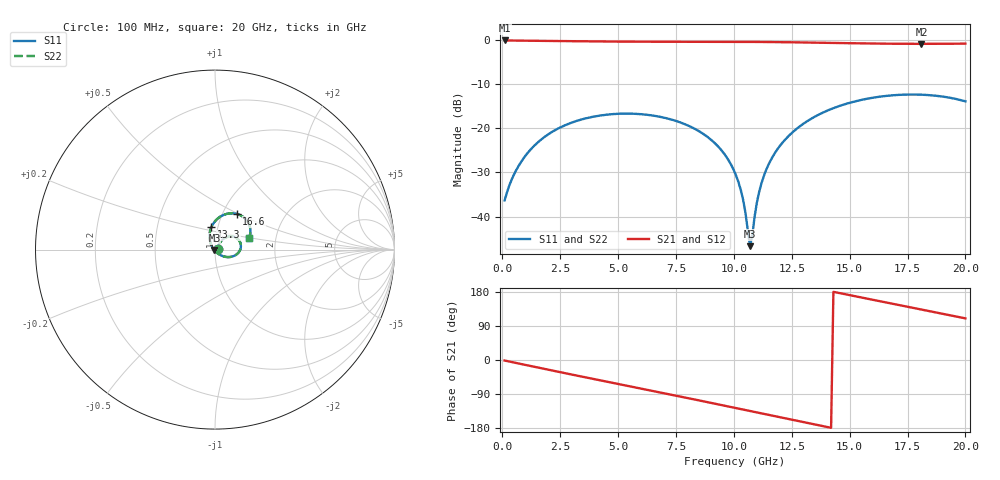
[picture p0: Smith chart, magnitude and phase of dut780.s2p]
! Touchstone file exported from HFSS 2026.1.0
!  File:  C:/ffzhzh/LocalFiles/Ansys_Project_Files/temp_train_TSV_RDL_780_1783210701_22436.aedt
!  Generated:  08:26:02 AM Jul  5, 2026
!  Design:  TSV_RDL
!  Project:  temp_train_TSV_RDL_780_1783210701_22436
! Variables:
!  h_bsmrdl = 3.68um
!  h_ox = 20um
!  h_rdl = 5um
!  h_sub = 69.12um
!  h_tmrdl = 5.67um
!  h_tsv = 69.12um
!  h_via = 3um
!  l_bsmrdl = 250.72um
!  l_sub = 3727.79um
!  l_tmrdl = 615.01um
!  m_sub = 200um
!  pitch = 31.86um
!  r_tsv = 14.22um
!  s_tmrdl = 10um
!  w_bsmrdl = 22.86um
!  w_sub = 500um
!  w_tmrdl = 15.67um
!  x_tsv_center1 = 622.845um
!  x_tsv_center2 = 896.425um
!  x_tsv_center3 = 1527.105um
!  x_tsv_center4 = 1800.685um
!  x_tsv_center5 = 2431.365um
!  x_tsv_center6 = 2704.945um
# GHz S MA R 50.000000
! Terminal data exported
! Port[1] = TM_RDL1_1_T1
! Port[2] = TM_RDL5_1_T1
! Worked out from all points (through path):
!   200 points, 100 MHz to 20 GHz, reference 50 ohm
!   highest |S21| = -0.12 dB at 100 MHz (marker M1); lowest = -0.9 dB at 18.1 GHz (marker M2)
!   group delay of S21, straight-line fit = 34.7 ps
!   lowest |S11| = -46.7 dB at 10.7 GHz (marker M3), VSWR 1.01, Z = 49.7 - j0.336 ohm
!   |S11| at or under -10 dB: start of sweep to end of sweep
!   |S22| runs from -46.3 to -12.4 dB; largest |S21 - S12| = 1.7e-14
!   S11 on the Smith chart (normalised r, x): 100 MHz: 1.03, +0.01; 13.3 GHz: 0.93, +0.24; 16.6 GHz: 1.16, +0.49; 20 GHz: 1.45, +0.20
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0.1  0.01527 21.0  0.9859 -1.4  0.9859 -1.4  0.01527 21.0
! Gamma 0 0 0 0
! Port Impedance 50 0 50 0
0.6  0.03351 50.3  0.9819 -7.9  0.9819 -7.9  0.03351 50.3
1.3  0.06039 54.1  0.9784 -16.9  0.9784 -16.9  0.0604 54.0
2.3  0.09581 46.8  0.9722 -29.6  0.9722 -29.6  0.09582 46.7
3.5  0.1273 33.9  0.9643 -44.6  0.9643 -44.6  0.1274 33.9
5.2  0.1464 14.1  0.9563 -65.7  0.9563 -65.7  0.1464 14.1
6.8  0.135 -5.1  0.9534 -85.4  0.9534 -85.4  0.135 -5.1
8.9  0.07843 -31.9  0.9531 -111.7  0.9531 -111.7  0.07849 -32.0
9.6  0.05075 -42.3  0.9525 -120.6  0.9525 -120.6  0.05081 -42.5
10.1  0.029 -52.4  0.9517 -126.9  0.9517 -126.9  0.02909 -52.8
10.4  0.01552 -64.2  0.9509 -130.7  0.9509 -130.7  0.01564 -64.9
10.7  0.004627 -133.1  0.9499 -134.6  0.9499 -134.6  0.00485 -132.8
11.1  0.01937 138.0  0.9483 -139.7  0.9483 -139.7  0.01937 138.7
11.5  0.03889 126.1  0.9464 -144.8  0.9464 -144.8  0.03886 126.5
12.2  0.0736 114.3  0.942 -153.7  0.942 -153.7  0.07356 114.4
13.3  0.1263 99.2  0.9332 -167.6  0.9332 -167.6  0.1262 99.3
13.4  0.1308 97.9  0.9323 -168.9  0.9323 -168.9  0.1308 98.0
14.9  0.1907 79.2  0.9187 172.4  0.9187 172.4  0.1907 79.2
16.6  0.2327 58.8  0.9064 151.6  0.9064 151.6  0.2326 58.8
16.7  0.2341 57.6  0.9059 150.4  0.9059 150.4  0.2341 57.6
18.1  0.2398 41.2  0.9023 133.3  0.9023 133.3  0.2398 41.2
20  0.2017 19.3  0.9077 109.8  0.9077 109.8  0.2017 19.3
